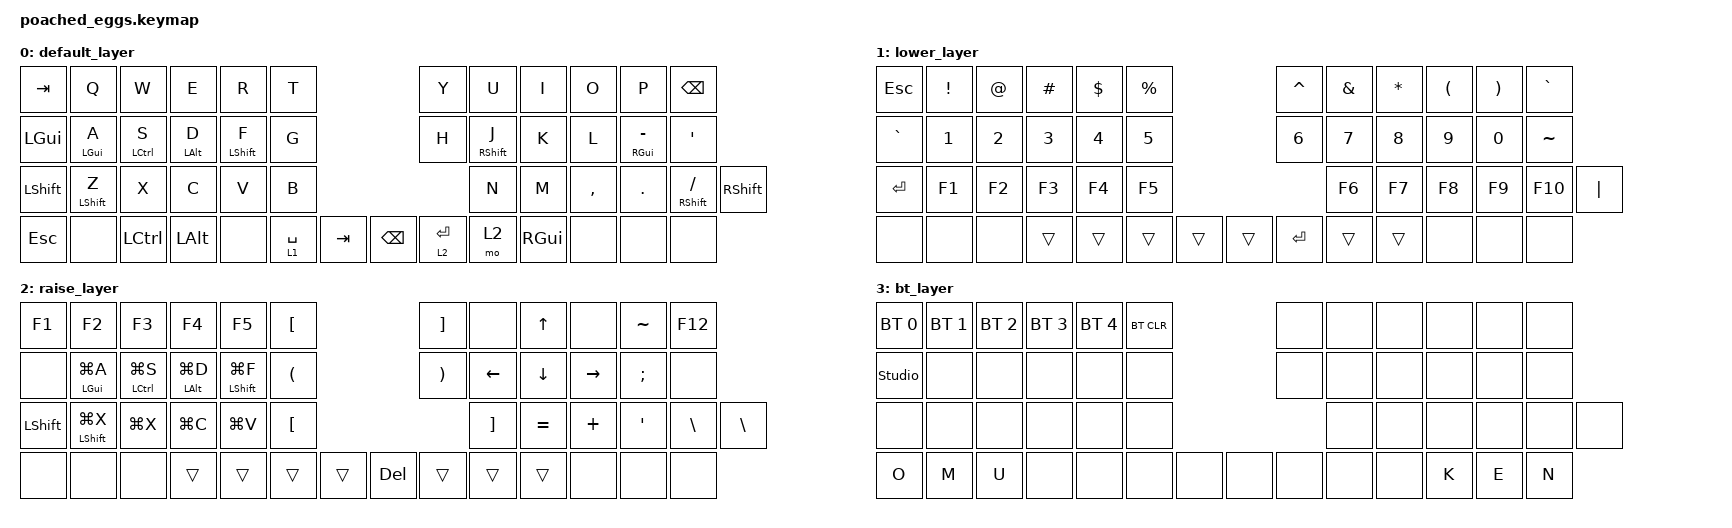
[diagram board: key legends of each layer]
#include <behaviors.dtsi>
#include <dt-bindings/zmk/keys.h>
#include <dt-bindings/zmk/bt.h>

/ {
    behaviors {
        hmt: homerow_mod_tap {
            compatible = "zmk,behavior-hold-tap";
            #binding-cells = <2>;
            tapping-term-ms = <220>;
            quick-tap-ms = <100>;
            require-prior-idle-ms = <150>;
            flavor = "tap-preferred";
            bindings = <&kp>, <&kp>;
        };
        //誤爆防止用設定トライ
        smt: s_homerow_mod_tap {
            compatible = "zmk,behavior-hold-tap";
            #binding-cells = <2>;
            tapping-term-ms = <300>;
            quick-tap-ms = <200>;
            require-prior-idle-ms = <300>;
            flavor = "tap-preferred";
            bindings = <&kp>, <&kp>;
        };
    };

    combos {
        compatible = "zmk,combos";
        
        // K+Lで日本語入力（LANG1）に切り替え
        jp_toggle {
            timeout-ms = <50>;
            key-positions = <20 21>;  // KとLの位置
            bindings = <&kp LANG1>;   // 日本語入力に切り替え
            layers = <0 1 2 3>;       // 全レイヤーで有効
        };

        // S+Dで英語入力（LANG2）に切り替え
        en_toggle {
            timeout-ms = <50>;
            key-positions = <14 15>;  // SとDの位置
            bindings = <&kp LANG2>;   // 英語入力に切り替え
            layers = <0 1 2 3>;       // 全レイヤーで有効
        };

        // ESC + 右端のnoneキーでレイヤー3に切り替え
        layer3_combo {
            timeout-ms = <50>;
            key-positions = <36 37>;
            bindings = <&mo 3>;
            layers = <0>;       // レイヤー0でのみ有効
        };
    };

    keymap {
        compatible = "zmk,keymap";

        default_layer {
            bindings = <
                &kp TAB     &kp Q       &kp W       &kp E       &kp R       &kp T                               &kp Y       &kp U       &kp I       &kp O       &kp P       &kp BSPC
                &kp LGUI    &hmt LGUI A  &smt LCTRL S  &hmt LALT D  &hmt LSHFT F &kp G                          &kp H       &hmt RSHFT J &kp K      &kp L       &hmt RGUI MINUS   &kp SQT
                &kp LSHFT   &hmt LSHFT Z  &kp X     &kp C       &kp V       &kp B                               &kp N       &kp M       &kp COMMA   &kp DOT     &hmt RSHFT FSLH    &kp RSHFT
                &kp ESC     &none       &kp LCTRL   &kp LALT    &none       &lt 1 SPACE   &kp TAB     &kp BSPC  &lt 2 RET   &mo 2       &kp RGUI    &none       &none       &none
            >;
        };

        lower_layer {
            bindings = <
                &kp ESC     &kp EXCL    &kp AT      &kp HASH    &kp DOLLAR  &kp PRCNT                           &kp CARET   &kp AMPS    &kp ASTRK   &kp LPAR    &kp RPAR    &kp GRAVE
                &kp GRAVE   &kp N1      &kp N2      &kp N3      &kp N4      &kp N5                              &kp N6      &kp N7      &kp N8      &kp N9      &kp N0      &kp TILDE
                &kp RET     &kp F1      &kp F2      &kp F3      &kp F4      &kp F5                              &kp F6      &kp F7      &kp F8      &kp F9      &kp F10     &kp PIPE
                &none       &none       &none       &trans      &trans      &trans      &trans      &trans      &kp RET     &trans      &trans      &none       &none       &none
            >;
        };

        raise_layer {
            bindings = <
                &kp F1      &kp F2      &kp F3      &kp F4      &kp F5      &kp LBKT                           &kp RBKT    &none       &kp UP      &none       &kp TILDE   &kp F12
                &none       &hmt LGUI LG(A) &smt LCTRL LG(S) &hmt LALT LG(D)  &hmt LSHFT LG(F) &kp LPAR        &kp RPAR    &kp LEFT    &kp DOWN    &kp RIGHT   &kp SEMI    &none
                &kp LSHFT   &hmt LSHFT LG(X)   &kp LG(X)       &kp LG(C)       &kp LG(V)       &kp LBKT        &kp RBKT    &kp EQUAL   &kp PLUS    &kp SQT     &kp BSLH    &kp BSLH
                &none       &none       &none       &trans      &trans      &trans       &trans      &kp DEL   &trans      &trans      &trans      &none       &none       &none
            >;
        };

        bt_layer {
            bindings = <
                &bt BT_SEL 0 &bt BT_SEL 1 &bt BT_SEL 2 &bt BT_SEL 3 &bt BT_SEL 4 &bt BT_CLR                        &none       &none       &none       &none       &none       &none
                &studio_unlock  &none        &none        &none        &none        &none                          &none       &none       &none       &none       &none       &none
                &none           &none        &none        &none        &none        &none                          &none       &none       &none       &none       &none       &none
                &kp O           &kp M        &kp U        &none        &none        &none        &none       &none       &none       &none       &none       &kp K       &kp E       &kp N
            >;
        };
    }; 
};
